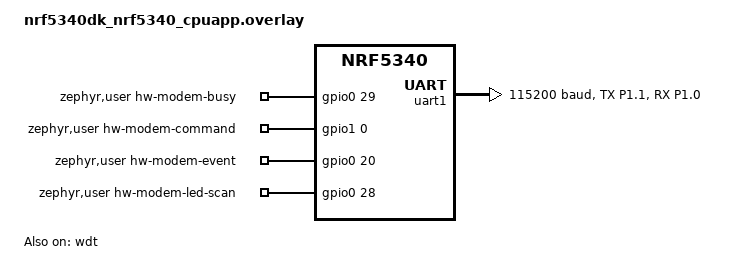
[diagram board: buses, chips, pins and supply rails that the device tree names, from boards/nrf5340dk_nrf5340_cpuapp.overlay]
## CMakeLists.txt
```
# Copyright (c) 2024 Semtech Corporation - Félix Piédallu
# SPDX-License-Identifier: Apache-2.0

cmake_minimum_required(VERSION 3.13.1)

# create compile_commands.json for clang
set(CMAKE_EXPORT_COMPILE_COMMANDS on)

find_package(Zephyr HINTS $ENV{ZEPHYR_BASE})
project(hw_modem)

zephyr_compile_options(-fdiagnostics-color=always)

add_subdirectory(src)

# Based on some LBM features, different flags are used in the sample for some
# reason, so we map to them here.
zephyr_compile_definitions_ifdef(CONFIG_LORA_BASICS_MODEM_GEOLOCATION
                                 ADD_APP_GEOLOCATION)

zephyr_compile_definitions_ifdef(LORA_BASICS_MODEM_CRYPTOGRAPHY_LR11XX
                                 USE_LR11XX_CRYPTO)
zephyr_compile_definitions_ifdef(
  LORA_BASICS_MODEM_CRYPTOGRAPHY_LR11XX_WITH_CREDENTIALS USE_LR11XX_CRYPTO)

zephyr_compile_definitions_ifdef(CONFIG_LORA_BASICS_MODEM_RELAY_TX_ENABLE
                                 USE_RELAY_TX)

zephyr_compile_definitions(
    FRAG_MAX_NB=4000
    FRAG_MAX_REDUNDANCY=400
    FRAG_MAX_SIZE=242
)
```

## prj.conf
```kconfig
# Copyright (c) 2024 Semtech Corporation - Félix Piédallu
# SPDX-License-Identifier: Apache-2.0

CONFIG_USE_SEGGER_RTT=n

# ------------------------------ MCUBoot configuration ------------------------------

CONFIG_BOOTLOADER_MCUBOOT=y
CONFIG_MCUBOOT_SIGNATURE_KEY_FILE="bootloader/mcuboot/root-rsa-2048.pem"

# ---------------------------- SMP Server Functionality -----------------------------

# Enable MCUmgr and dependencies.
CONFIG_NET_BUF=y
CONFIG_ZCBOR=y
CONFIG_CRC=y
CONFIG_MCUMGR=y
CONFIG_STREAM_FLASH=y
CONFIG_FLASH_MAP=y

# Some command handlers require a large stack.
CONFIG_SYSTEM_WORKQUEUE_STACK_SIZE=2304
CONFIG_MAIN_STACK_SIZE=2048

# Ensure an MCUboot-compatible binary is generated.
CONFIG_BOOTLOADER_MCUBOOT=y
CONFIG_MCUBOOT_SIGNATURE_KEY_FILE="bootloader/mcuboot/root-rsa-2048.pem"

# Enable flash operations.
CONFIG_FLASH=y

# Required by the `taskstat` command.
CONFIG_THREAD_MONITOR=y

# Support for taskstat command
CONFIG_MCUMGR_GRP_OS_TASKSTAT=y

# Enable statistics and statistic names.
#CONFIG_STATS=y
#CONFIG_STATS_NAMES=y

# Enable most core commands.
CONFIG_FLASH=y
CONFIG_IMG_MANAGER=y
CONFIG_MCUMGR_GRP_IMG=y
CONFIG_MCUMGR_GRP_OS=y
CONFIG_MCUMGR_GRP_STAT=y

# Enable logging
# CONFIG_MCUBOOT_UTIL_LOG_LEVEL_WRN=y

# Disable debug logging
CONFIG_LOG_MAX_LEVEL=3

# ------------------------------ General configuration -------------------------

# required for floorf (which is used within the smtc_modem lib)
CONFIG_NEWLIB_LIBC=y

# stack size (2048 required by Semtech)
CONFIG_MAIN_STACK_SIZE=4096
# some opereations will be triggered from the system workq, so match above stack size
CONFIG_SYSTEM_WORKQUEUE_STACK_SIZE=4096
# heap size
CONFIG_HEAP_MEM_POOL_SIZE=4096

CONFIG_LOG_BUFFER_SIZE=4096

CONFIG_LOG=y
CONFIG_LOG_BACKEND_UART=y
CONFIG_LOG_MAX_LEVEL=4
CONFIG_TEST_RANDOM_GENERATOR=y

# CONFIG_SERIAL=y
# CONFIG_UART_INTERRUPT_DRIVEN=y

# ------------------------------ Transceiver driver ----------------------------

CONFIG_LORA_BASICS_MODEM_DRIVERS=y
CONFIG_LORA_BASICS_MODEM_DRIVERS_EVENT_TRIGGER_GLOBAL_THREAD=y

# ------------------------------ Requirements LBM ------------------------------

CONFIG_SETTINGS=y
CONFIG_SETTINGS_NVS=y

CONFIG_NVS=y
CONFIG_FLASH=y
CONFIG_FLASH_MAP=y

CONFIG_MPU_ALLOW_FLASH_WRITE=y

CONFIG_REBOOT=y

# ------------------------------ LoRa Basics Modem -----------------------------

CONFIG_LORA_BASICS_MODEM=y

# FIXME: maybe use SETTINGS
CONFIG_LORA_BASICS_MODEM_USER_STORAGE_IMPL=n

CONFIG_LORA_BASICS_MODEM_RP2_103=y
CONFIG_LORA_BASICS_MODEM_ENABLE_ALL_REGIONS=y

CONFIG_LORA_BASICS_MODEM_CRYPTOGRAPHY_SOFT=n

CONFIG_LORA_BASICS_MODEM_CLASS_B=y
CONFIG_LORA_BASICS_MODEM_CLASS_C=y
CONFIG_LORA_BASICS_MODEM_MULTICAST=y
CONFIG_LORA_BASICS_MODEM_CSMA=y

CONFIG_LORA_BASICS_MODEM_ALC_SYNC=y
CONFIG_LORA_BASICS_MODEM_ALC_SYNC_V2=y

CONFIG_LORA_BASICS_MODEM_FUOTA=y
# CONFIG_LORA_BASICS_MODEM_FUOTA_V1=y
# CONFIG_LORA_BASICS_MODEM_FUOTA_ENABLE_FMP=y
# CONFIG_LORA_BASICS_MODEM_FUOTA_ENABLE_MPA=y

CONFIG_LORA_BASICS_MODEM_ALMANAC=n
CONFIG_LORA_BASICS_MODEM_STREAM=y
CONFIG_LORA_BASICS_MODEM_LFU=y
CONFIG_LORA_BASICS_MODEM_DEVICE_MANAGEMENT=y
CONFIG_LORA_BASICS_MODEM_GEOLOCATION=n
CONFIG_LORA_BASICS_MODEM_STORE_AND_FORWARD=n
# CONFIG_LORA_BASICS_MODEM_BEACON_TX=y
# CONFIG_LORA_BASICS_MODEM_RELAY_TX=y


CONFIG_LORA_BASICS_MODEM_APP_HELPERS=y

# Increase required for store_and_forward
CONFIG_LORA_BASICS_MODEM_CONTEXT_BUFFER_SIZE=1024


# ------------------------------ Debug ------------------------------

# Compiler optimizations will be set to -Og independently of other options.
CONFIG_DEBUG_OPTIMIZATIONS=y

# This option enables the addition of various information that can be
# used by debuggers in debugging the system, or enable additional debugging
# information to be reported at runtime.
CONFIG_DEBUG_INFO=y

# This option adds additional information to the thread object, so that the
# debugger can discover the threads.
CONFIG_DEBUG_THREAD_INFO=y
CONFIG_DEBUG_COREDUMP=y

# enable asserts during development only
CONFIG_ASSERT=y

CONFIG_LORA_BASICS_MODEM_LOG_LEVEL_DBG=y
CONFIG_LORA_BASICS_MODEM_LOG_LEVEL_DEEP_DBG=n

# ------------------------------ Requirements of this sample ------------------------------

CONFIG_PM_DEVICE=y
CONFIG_WATCHDOG=y
```

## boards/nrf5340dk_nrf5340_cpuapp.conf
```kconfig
# Use minimal logging mode and disable info/debug logging to reduce flash space
#CONFIG_LOG_MODE_MINIMAL=y
#CONFIG_LOG_MAX_LEVEL=2
#CONFIG_LOG_DEFAULT_LEVEL=2

# Disable RTT support
CONFIG_USE_SEGGER_RTT=n

# Disable Bluetooth PHY update support
CONFIG_BT_USER_PHY_UPDATE=n
CONFIG_BT_PHY_UPDATE=n

CONFIG_CRYPTO=y
CONFIG_MBEDTLS=y
CONFIG_MBEDTLS_BUILTIN=y
CONFIG_MBEDTLS_HEAP_SIZE=512

CONFIG_MBEDTLS_CIPHER_AES_ENABLED=y
CONFIG_MBEDTLS_CIPHER_CCM_ENABLED=y
CONFIG_MBEDTLS_CIPHER_GCM_ENABLED=y

CONFIG_CRYPTO_MBEDTLS_SHIM=y
```

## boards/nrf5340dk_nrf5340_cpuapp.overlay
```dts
/ {
    zephyr,user {
        /* PINS used for the HW modem sample. */
        hw-modem-busy-gpios = <&gpio0 29 GPIO_ACTIVE_HIGH>;

        hw-modem-command-gpios = <&gpio1 0 (GPIO_ACTIVE_HIGH | GPIO_PULL_UP)>;

        hw-modem-event-gpios = <&gpio0 20 GPIO_ACTIVE_HIGH>;

        hw-modem-led-scan-gpios = <&gpio0 28 GPIO_ACTIVE_HIGH>;
    };

    aliases {
        /* Specify which UART is used for communication (as input for the hw modem tester) */
        smtc-hal-uart = &uart1;
        smtc-watchdog = &wdt;
    };
};

&spi1 {
    status = "disabled";
};
// &spi2 {
//     status = "disabled";
// };
&qspi {
    status = "disabled";
};

/* Specify which UART is used for communication (as input for the hw modem tester) */
&uart1 {
    status = "okay";

    compatible = "nordic,nrf-uarte";
    status = "okay";
    current-speed = <115200>;

    pinctrl-0 = <&uart1_default_alt>;
    pinctrl-1 = <&uart1_sleep_alt>;
    pinctrl-names = "default", "sleep";
};

&pinctrl {

    uart1_default_alt: uart1_default_alt {
        group1 {
            psels = <NRF_PSEL(UART_TX, 1, 1)>, <NRF_PSEL(UART_RX, 1, 0)>;
        };
    };

    uart1_sleep_alt: uart1_sleep_alt {
        group1 {
            psels = <NRF_PSEL(UART_TX, 1, 1)>, <NRF_PSEL(UART_RX, 1, 0)>;
            low-power-enable;
        };
    };

};

&wdt {
    status = "okay";
};

/delete-node/ &slot0_ns_partition;
/delete-node/ &slot1_ns_partition;
/delete-node/ &storage_partition;

&flash0 {
	partitions {
		slot0_partition: partition@10000 {
			reg = <0x000010000 0x000078000>;
		};

		slot1_partition: partition@80000 {
			reg = <0x000088000 0x000078000>;
		};
	};
};
```

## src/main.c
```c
/*
 * Copyright (c) 2024 Semtech Corporation
 *
 * SPDX-License-Identifier: Apache-2.0
 */

#include "main.h"
#include "smtc_modem_hal_init.h"
#include "smtc_modem_utilities.h"
#include <smtc_modem_api.h>

#include "cmd_parser.h"

#include "common.h"

/* lr11xx radio context and its use in the ralf layer */
static const struct device *transceiver = DEVICE_DT_GET(DT_ALIAS(lora_transceiver));

/* Callbacks for HAL implementation */
static struct smtc_modem_hal_cb prv_hal_cb;

/**
 * @brief Callback for modem hal
 */
static int prv_get_battery_level_cb(uint32_t *value)
{
	*value = 98;
	return 0;
}

/**
 * @brief Callback for modem hal
 */
static int prv_get_temperature_cb(int32_t *value)
{
	*value = 25;
	return 0;
}

/**
 * @brief Callback for modem hal
 */
static int prv_get_voltage_cb(uint32_t *value)
{
	*value = 3300;
	return 0;
}

#ifdef CONFIG_LORA_BASICS_MODEM_FUOTA
static int prv_get_hw_version_for_fuota(uint32_t *version)
{
	*version = 1;
	return 0;
}

static int prv_get_fw_version_for_fuota(uint32_t *version)
{
	*version = 1;
	return 0;
}

static int prv_get_fw_status_available_for_fuota(uint8_t *status)
{
	*status = 1;
	return 0;
}

static int prv_get_next_fw_version_for_fuota(uint32_t *version)
{
	*version = 1;
	return 0;
}

static int prv_get_fw_delete_status_for_fuota(uint32_t status)
{
	return 0;
}
#endif /* CONFIG_LORA_BASICS_MODEM_FUOTA */

int main(void)
{
	/* Create callback structure for HAL impl */
	prv_hal_cb = (struct smtc_modem_hal_cb){
		.get_battery_level = prv_get_battery_level_cb,
		.get_temperature = prv_get_temperature_cb,
		.get_voltage = prv_get_voltage_cb,

#ifdef CONFIG_LORA_BASICS_MODEM_FUOTA
		.get_hw_version_for_fuota = prv_get_hw_version_for_fuota,
		.get_fw_version_for_fuota = prv_get_fw_version_for_fuota,
		.get_fw_status_available_for_fuota = prv_get_fw_status_available_for_fuota,
		.get_next_fw_version_for_fuota = prv_get_next_fw_version_for_fuota,
		.get_fw_delete_status_for_fuota = prv_get_fw_delete_status_for_fuota,
#endif /* CONFIG_LORA_BASICS_MODEM_FUOTA */
	};

#ifdef CONFIG_MCUMGR_TRANSPORT_BT
    start_smp_bluetooth_adverts();
#endif

    smtc_modem_set_radio_context(transceiver);
	smtc_modem_hal_init(transceiver);
	smtc_modem_hal_register_callbacks(&prv_hal_cb);

	cmd_parser_set_transceiver_context((void*)transceiver);

	main_hw_modem();
	return 0;
}
```
